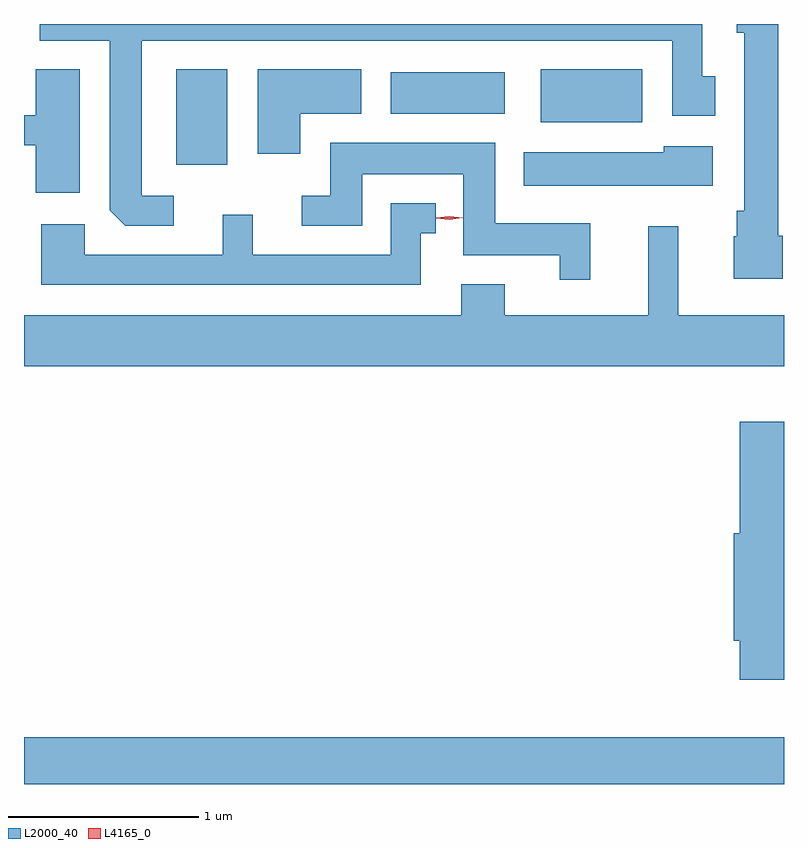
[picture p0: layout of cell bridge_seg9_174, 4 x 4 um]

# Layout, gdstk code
import gdstk
lib = gdstk.Library(unit=1e-6, precision=1e-09)
def R(c, l, rs):  # rectangles x0, y0, x1, y1
    for r in rs: c.add(gdstk.rectangle(r[:2], r[2:], *l))
def P(c, l, *ps):  # polygons
    for p in ps: c.add(gdstk.Polygon(p, *l))
L2000_40 = (2000, 40)
L4165_0 = (4165, 0)

bridge_seg9_174 = lib.new_cell('bridge_seg9_174')
R(bridge_seg9_174, L2000_40, [(1107.67,2076.198,1111.67,2076.444), (1108.471,2079.456,1108.739,2079.959), (1110.391,2079.681,1110.924,2079.959), (1109.601,2079.726,1110.199,2079.944)])
P(bridge_seg9_174, L2000_40, [(1108.458,2079.294),(1108.289,2079.294),(1108.289,2080.111),(1111.081,2080.111),(1111.081,2079.716),(1111.309,2079.716),(1111.309,2079.924),(1111.239,2079.924),(1111.239,2080.198),(1107.753,2080.198),(1107.753,2080.111),(1108.121,2080.111),(1108.121,2079.217),(1108.202,2079.136),(1108.458,2079.136)],
  [(1111.664,2079.084),(1111.639,2079.084),(1111.639,2080.198),(1111.421,2080.198),(1111.421,2080.151),(1111.461,2080.151),(1111.461,2079.214),(1111.421,2079.214),(1111.421,2079.08),(1111.406,2079.08),(1111.406,2078.856),(1111.664,2078.856)],
  [(1109.124,2079.726),(1109.444,2079.726),(1109.444,2079.959),(1108.901,2079.959),(1108.901,2079.516),(1109.124,2079.516)],
  [(1107.964,2079.959),(1107.731,2079.959),(1107.731,2079.719),(1107.67,2079.719),(1107.67,2079.561),(1107.731,2079.561),(1107.731,2079.311),(1107.964,2079.311)],
  [(1110.649,2079.149),(1110.149,2079.149),(1110.149,2079.574),(1109.281,2079.574),(1109.281,2079.294),(1109.133,2079.294),(1109.133,2079.136),(1109.449,2079.136),(1109.449,2079.406),(1109.981,2079.406),(1109.981,2078.981),(1110.491,2078.981),(1110.491,2078.853),(1110.649,2078.853)],
  [(1111.294,2079.554),(1111.036,2079.554),(1111.036,2079.524),(1110.301,2079.524),(1110.301,2079.346),(1111.294,2079.346)],
  [(1109.759,2079.096),(1109.838,2079.096),(1109.838,2079.254),(1109.601,2079.254),(1109.601,2078.984),(1108.874,2078.984),(1108.874,2079.193),(1108.716,2079.193),(1108.716,2078.984),(1107.989,2078.984),(1107.989,2079.144),(1107.761,2079.144),(1107.761,2078.826),(1109.759,2078.826)],
  [(1111.67,2078.664),(1111.114,2078.664),(1111.114,2079.133),(1110.956,2079.133),(1110.956,2078.664),(1110.199,2078.664),(1110.199,2078.829),(1109.971,2078.829),(1109.971,2078.664),(1107.67,2078.664),(1107.67,2078.396),(1111.67,2078.396)],
  [(1111.67,2078.104),(1111.436,2078.104),(1111.436,2077.519),(1111.406,2077.519),(1111.406,2076.951),(1111.436,2076.951),(1111.436,2076.746),(1111.67,2076.746)])
P(bridge_seg9_174, L4165_0, [(1109.908,2079.167),(1109.839,2079.176),(1109.839,2079.177),(1109.839,2079.177),(1109.908,2079.187),(1109.978,2079.178),(1109.978,2079.178),(1109.978,2079.177)])

lib.write_gds('bridge_seg9_174.gds')
